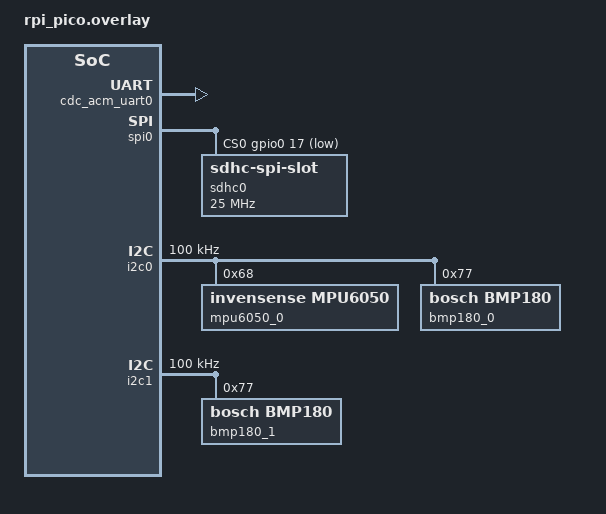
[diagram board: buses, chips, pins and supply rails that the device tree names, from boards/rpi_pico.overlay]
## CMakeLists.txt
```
#-------------------------------------------------------------------------------
# Micrometer prototype
#
# Copyright (c) 2025 Auxspace e.V.
# SPDX-License-Identifier: Apache-2.0

cmake_minimum_required(VERSION 3.20.0)

find_package(Zephyr)
project(micrometer)

target_sources(app PRIVATE 
    src/main.c
    )

# Conditionally include storage.c if CONFIG_STORAGE is enabled
if(CONFIG_STORAGE)
    target_sources(app PRIVATE src/storage.c)
endif()
```

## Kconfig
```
# Copyright (c) 2025 Auxspace e.V.
# SPDX-License-Identifier: Apache-2.0
#
# This file is the application Kconfig entry point. All application Kconfig
# options can be defined here or included via other application Kconfig files.
# You can browse these options using the west targets menuconfig (terminal) or
# guiconfig (GUI).

menu "Zephyr"

source "Kconfig.zephyr"

endmenu

module = MICROMETER
module-str = MICROMETER
source "subsys/logging/Kconfig.template.log_config"

config STORAGE
	bool "Support for storage"
	help
	  This option enables storage driver options

config IMU
	bool "Support for IMU"
	help
	  This option enables functionality for the Inertial Measurement Unit (IMU).

config BARO
	bool "Support for BARO"
	help
	  This option enables functionality for the barometric pressure sensor.

config IMU_HZ
    string "IMU sampling rate (Hz)"
    default "10.0"
	depends on IMU
    help
      Desired IMU sampling rate in Hertz (floating-point allowed).

config USB_SERIAL
	bool "Support for USB serial console"
	help
	  This option enables functionality for a serial console via USB.
```

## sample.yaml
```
sample:
  name: Sensor Board
common:
  tags: filesystem
  modules:
    - fatfs
tests:
  sample.filesystem.fat_fs:
    depends_on: sdhc
    harness: console
    harness_config:
      fixture: fixture_sdhc
      type: multi_line
      regex:
        - "Block count"
        - "Sector size"
        - "Memory Size"
        - "Disk mounted"
  sample.filesystem.fat_fs.rpi_pico:
    build_only: true
    platform_allow: rpi_pico
    extra_args:
      - EXTRA_CONF_FILE=boards/rpi_pico.conf
      - DTC_OVERLAY_FILE=boards/rpi_pico.overlay
  sample.filesystem.fat_fs.rpi_pico2_m33:
    build_only: true
    platform_allow: rpi_pico2/rp2350a/m33
    extra_args:
      - EXTRA_CONF_FILE=boards/rpi_pico2_m33.conf
      - DTC_OVERLAY_FILE=boards/rpi_pico2_m33.overlay
  sample.filesystem.fat_fs.has_sdmmc_disk:
    build_only: true
    filter: dt_compat_enabled("zephyr,sdmmc-disk")
    integration_platforms:
      - rpi_pico2_m33

tests:
  micrometer.default: {}
  micrometer.debug:
    extra_overlay_confs:
      - debug.conf
```

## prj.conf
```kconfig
CONFIG_MAIN_STACK_SIZE=2048
CONFIG_USE_DT_CODE_PARTITION=y
CONFIG_GPIO=y
CONFIG_LOG=y
CONFIG_RESET=y
CONFIG_CONSOLE=y
CONFIG_SENSOR=y
CONFIG_REQUIRES_FLOAT_PRINTF=y
CONFIG_CBPRINTF_FP_SUPPORT=y
```

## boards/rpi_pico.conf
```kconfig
# RPI Pico 2 (RISC-V) Hardware capabilities
CONFIG_SPI=y
CONFIG_DISK_DRIVER_SDMMC=y

CONFIG_CLOCK_CONTROL=y

CONFIG_AURORA_CONSOLE=y
CONFIG_USB_DEVICE_STACK=y
CONFIG_USB_DEVICE_PRODUCT="RPi Pico USB Serial Console"
CONFIG_USB_DEVICE_VID=0x000A
CONFIG_SERIAL=y
CONFIG_USB_SERIAL=y

CONFIG_CONSOLE=y
CONFIG_UART_CONSOLE=y
CONFIG_UART_LINE_CTRL=y

# Auxspace Hardware capabilities
CONFIG_AURORA_SENSORS=y

CONFIG_LSM6DSO_ENABLE_TEMP=y
CONFIG_STMEMSC_I3C_I2C_WRITE_BUFFER_SIZE=32

# Filesystem and Storage
CONFIG_FILE_SYSTEM=y
CONFIG_FILE_SYSTEM_MKFS=y
CONFIG_FAT_FILESYSTEM_ELM=y
CONFIG_MMC_STACK=y
CONFIG_STORAGE=y

# IMU
CONFIG_IMU=y
CONFIG_IMU_HZ="20.0"

# Baro
CONFIG_BARO=y

# State Machine
CONFIG_AURORA_STATE_MACHINE=y

# Build output
CONFIG_BUILD_OUTPUT_UF2=y
CONFIG_BUILD_OUTPUT_HEX=y
```

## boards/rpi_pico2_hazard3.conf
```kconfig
# RPI Pico 2 (RISC-V) Hardware capabilities
CONFIG_SPI=y
CONFIG_DISK_DRIVER_SDMMC=y

CONFIG_CLOCK_CONTROL=y

CONFIG_AURORA_CONSOLE=y
CONFIG_USB_DEVICE_STACK=y
CONFIG_USB_DEVICE_PRODUCT="RPi Pico 2 USB Serial Console"
CONFIG_USB_DEVICE_VID=0x000A
CONFIG_SERIAL=y
CONFIG_USB_SERIAL=y

CONFIG_CONSOLE=y
CONFIG_UART_CONSOLE=y
CONFIG_UART_LINE_CTRL=y

# Auxspace Hardware capabilities
CONFIG_AURORA_SENSORS=y

CONFIG_LSM6DSO_ENABLE_TEMP=y
CONFIG_STMEMSC_I3C_I2C_WRITE_BUFFER_SIZE=32

# Filesystem and Storage
CONFIG_FILE_SYSTEM=y
CONFIG_FILE_SYSTEM_MKFS=y
CONFIG_FAT_FILESYSTEM_ELM=y
CONFIG_MMC_STACK=y
CONFIG_STORAGE=y

# IMU
CONFIG_IMU=y
CONFIG_IMU_HZ="20.0"

# Baro
CONFIG_BARO=y

# State Machine
CONFIG_AURORA_STATE_MACHINE=y

# Build output
CONFIG_BUILD_OUTPUT_UF2=y
CONFIG_BUILD_OUTPUT_HEX=y
```

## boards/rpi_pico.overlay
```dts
/*
 * Copyright (c) 2025 Auxspace e.V.
 * SPDX-License-Identifier: Apache-2.0
 */

/ {

    aliases {
        baro0 = &bmp180_0;
        baro1 = &bmp180_1;

        imu0 = &mpu6050_0;
    };

    chosen {
        zephyr,console = &cdc_acm_uart0;
    };
};

&zephyr_udc0 {
    cdc_acm_uart0: cdc_acm_uart0 {
        compatible = "zephyr,cdc-acm-uart";
        label = "CDC_ACM_0";
    };
};

&pinctrl {
        spi0_default: spi0_default {
                group1 {
                        pinmux = <SPI0_CSN_P17>, <SPI0_SCK_P18>, <SPI0_TX_P19>;
                };
                group2 {
                        pinmux = <SPI0_RX_P16>;
                        input-enable;
                };
        };

        i2c0_default: i2c0_default {
                group1 {
                        pinmux = <I2C0_SDA_P4>, <I2C0_SCL_P5>;
                        input-enable;
                        input-schmitt-enable;
                };
        };
        
        i2c1_default: i2c1_default {
                group1 {
                        pinmux = <I2C1_SDA_P6>, <I2C1_SCL_P7>;
                        input-enable;
                        input-schmitt-enable;
                };
        };
};

&spi0 {
        status = "okay";
        cs-gpios = <&gpio0 17 GPIO_ACTIVE_LOW>;

        sdhc0: sdhc@0 {
                compatible = "zephyr,sdhc-spi-slot";
                reg = <0>;
                status = "okay";
                mmc {
                        compatible = "zephyr,sdmmc-disk";
                        disk-name = "SD";
                        status = "okay";
                };
                spi-max-frequency = <25000000>;
        };
};

&i2c0 {
        status = "okay";
        clock-frequency = <I2C_BITRATE_STANDARD>;

        mpu6050_0: mpu6050@68 {
                compatible = "invensense,mpu6050";
                reg = <0x68>;
                smplrt-div = <249>;
                status = "okay";
        };

        bmp180_0: bmp180@77 {
                compatible = "bosch,bmp180";
                reg = <0x77>;
                osr-press = <2>;
                status = "okay";
        };
};

&i2c1 {
        status = "okay";
        clock-frequency = <I2C_BITRATE_STANDARD>;

        bmp180_1: bmp180@77 {
                compatible = "bosch,bmp180";
                reg = <0x77>;
                osr-press = <2>;
                status = "okay";
        };
};

&gpio0 {
        status = "okay";
};
```

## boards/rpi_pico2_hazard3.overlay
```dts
/*
 * Copyright (c) 2025 Auxspace e.V.
 * SPDX-License-Identifier: Apache-2.0
 */

/ {
	aliases {
		baro0 = &bmp180_0;
		baro1 = &bmp180_1;

		imu0 = &mpu6050_0;
	};

	chosen {
		zephyr,console = &cdc_acm_uart0;
	};
};

&zephyr_udc0 {
	cdc_acm_uart0: cdc_acm_uart0 {
		compatible = "zephyr,cdc-acm-uart";
		label = "CDC_ACM_0";
	};
};

&pinctrl {
	spi0_default: spi0_default {
		group1 {
			pinmux = <SPI0_CSN_P17>, <SPI0_SCK_P18>, <SPI0_TX_P19>;
		};
		group2 {
			pinmux = <SPI0_RX_P16>;
			input-enable;
		};
	};

	i2c0_default: i2c0_default {
		group1 {
			pinmux = <I2C0_SDA_P4>, <I2C0_SCL_P5>;
			input-enable;
			input-schmitt-enable;
		};
	};

	i2c1_default: i2c1_default {
		group1 {
			pinmux = <I2C1_SDA_P6>, <I2C1_SCL_P7>;
			input-enable;
			input-schmitt-enable;
		};
	};
};

&spi0 {
	status = "okay";
	cs-gpios = <&gpio0 17 GPIO_ACTIVE_LOW>;

	sdhc0: sdhc@0 {
		compatible = "zephyr,sdhc-spi-slot";
		reg = <0>;
		status = "okay";
		mmc {
			compatible = "zephyr,sdmmc-disk";
			disk-name = "SD";
			status = "okay";
		};
		spi-max-frequency = <25000000>;
	};
};

&i2c0 {
	status = "okay";
	clock-frequency = <I2C_BITRATE_STANDARD>;

	mpu6050_0: mpu6050@68 {
		compatible = "invensense,mpu6050";
		reg = <0x68>;
		smplrt-div = <249>;
		status = "okay";
	};

	bmp180_0: bmp180@77 {
		compatible = "bosch,bmp180";
		reg = <0x77>;
		osr-press = <2>;
		status = "okay";
	};
};

&i2c1 {
	status = "okay";
	clock-frequency = <I2C_BITRATE_STANDARD>;

	bmp180_1: bmp180@77 {
			compatible = "bosch,bmp180";
			reg = <0x77>;
			osr-press = <2>;
			status = "okay";
	};
};

&gpio0 {
	status = "okay";
};
```

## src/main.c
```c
/*
 * Copyright (c) 2025 Auxspace e.V.
 * SPDX-License-Identifier: Apache-2.0
 */

#include <stdlib.h>
#include <stdio.h>
#include <zephyr/kernel.h>
#include <zephyr/logging/log.h>
#include <zephyr/devicetree.h>
#include <zephyr/device.h>

#include <app_version.h>

#if defined(CONFIG_STORAGE)
#include <ff.h>
#include <zephyr/fs/fs.h>
#include <lib/storage.h>
#endif /* CONFIG_STORAGE */

#if defined(CONFIG_USB_SERIAL)
#include <lib/usb_serial.h>
#endif /* CONFIG_USB_SERIAL */

#if defined(CONFIG_IMU)
#include <lib/imu.h>
#endif /* CONFIG_IMU */

#if defined(CONFIG_BARO)
#include <lib/baro.h>
#endif /* CONFIG_BARO */

#if defined(CONFIG_AURORA_STATE_MACHINE)

#if defined(CONFIG_SIMPLE_STATE)
#include <lib/state/simple.h>

static const struct sm_thresholds state_cfg = (struct sm_thresholds){
	.T_D = 5.0,
	.T_A = 1.5,
	.T_H = 2.0,
	.T_Rd = 100.0,
	.T_Lh = 1.0,
	.T_La = 0.3,
	.T_L = 3,
	.T_R = 2,
	.T_R2 = 5,
};

#else
#error "Unknown state machine type!"
#endif /* CONFIG_SIMPLE_STATE */

#endif /* CONFIG_AURORA_STATE_MACHINE */

LOG_MODULE_REGISTER(main, CONFIG_MICROMETER_LOG_LEVEL);

#if defined(CONFIG_AURORA_SENSORS)

/* ============================================================
 *                     IMU TASK
 * ============================================================ */
#if defined(CONFIG_IMU)

void imu_task(void *, void *, void *)
{
	const struct device *imu0 = DEVICE_DT_GET(DT_ALIAS(imu0));

	imu_init(imu0);

	while (1) {
		int rc = imu_poll(imu0);
		if (rc != 0) {
			LOG_ERR("IMU polling failed (%d)", rc);
			break;
		}

		k_sleep(K_SECONDS(2));
	}

	LOG_INF("IMU task stopped.");
}

/* Create the IMU task (inactive unless CONFIG_IMU=y) */
K_THREAD_DEFINE(imu_task_id, 2048, imu_task, NULL, NULL, NULL,
				5, 0, 0);

#endif /* CONFIG_IMU */

/* ============================================================
 *                     BARO TASK
 * ============================================================ */
#if defined(CONFIG_BARO)

void baro_task(void *, void *, void *)
{
	const struct device *bmp0 = DEVICE_DT_GET(DT_ALIAS(baro0));
	const struct device *bmp1 = DEVICE_DT_GET(DT_ALIAS(baro1));

	if (!device_is_ready(bmp0) || !device_is_ready(bmp1)) {
		LOG_ERR("One of BMP180 sensors not ready!");
		return;
	}

	struct sensor_value temp, press;

	while (1) {

		if (baro_measure(bmp0, &temp, &press)) {
			LOG_ERR("Failed to measure BMP0");
			continue;
		}

		LOG_INF("[BMP0] Temp: %.1f C | Press: %.1f kPa",
				sensor_value_to_double(&temp),
				sensor_value_to_double(&press) / 1000.0);

		if (baro_measure(bmp1, &temp, &press)) {
			LOG_ERR("Failed to measure BMP1");
			continue;
		}

		LOG_INF("[BMP1] Temp: %.1f C | Press: %.1f kPa",
				sensor_value_to_double(&temp),
				sensor_value_to_double(&press) / 1000.0);

		k_sleep(K_SECONDS(1));
	}
}

/* Create the BARO task */
K_THREAD_DEFINE(baro_task_id, 2048, baro_task, NULL, NULL, NULL,
				5, 0, 0);

#endif /* CONFIG_BARO */

#if defined(CONFIG_AURORA_STATE_MACHINE)

static struct sm_inputs read_sensors()
{
	float orientation = 0.0f;
	float acceleration = 0.0f;
	float height = 0.0f;;
	float previous_height = 0.0f;;

	// TODO read baro and IMU
	return (struct sm_inputs){
		orientation,
		acceleration,
		height,
		previous_height,
	};
}

#endif /* CONFIG_AURORA_STATE_MACHINE */

#else  /* CONFIG_AURORA_SENSORS */

#if defined(CONFIG_AURORA_STATE_MACHINE)

static struct sm_inputs read_sensors()
{
	return (struct sm_inputs){0};
}

#endif /* CONFIG_AURORA_STATE_MACHINE */

#endif /* CONFIG_AURORA_SENSORS */

/* ============================================================
 *                     State machine TASK
 * ============================================================ */
#if defined(CONFIG_AURORA_STATE_MACHINE)

void state_machine_task(void *, void *, void *)
{
	sm_init(&state_cfg);

	while (1) {
		struct sm_inputs s = read_sensors();
		sm_update(&s);

		LOG_INF("STATE = %d\n", sm_get_state());

		/* currently 10Hz. Make this better! */
		k_sleep(K_MSEC(100));
	}
}

/* Create the State machine task */
K_THREAD_DEFINE(state_machine_task_id, 2048, state_machine_task, NULL, NULL,
				NULL, 5, 0, 0);

#endif /* CONFIG_AURORA_STATE_MACHINE */

/* ============================================================
 *                     MAIN INITIALIZATION
 * ============================================================ */
int main(void)
{
	int ret;

#if defined(CONFIG_USB_SERIAL)
	ret = init_usb_serial();
	if (ret) {
		LOG_ERR("Could not initialize USB Serial (%d)", ret);
		return 1;
	}
#endif /* CONFIG_USB_SERIAL */

	LOG_INF("Auxspace Micrometer %s", APP_VERSION_STRING);

#if defined(CONFIG_STORAGE)
	/* init storage and create directories/files ... */
	ret = storage_init();
	if (ret) {
		LOG_ERR("Could not initialize storage (%d)", ret);
		return 1;
	}

#endif /* CONFIG_STORAGE */

	LOG_INF("Initialization complete. Starting tasks...");

	/* Threads start automatically via K_THREAD_DEFINE */

	return 0;
}
```

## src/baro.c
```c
/*
 * Copyright (c) 2025, Auxspace e.V.
 *
 * SPDX-License-Identifier: Apache-2.0
 */

#include <stdlib.h>
#include <stdio.h>
#include <zephyr/logging/log.h>

#include <lib/baro.h>

LOG_MODULE_REGISTER(baro, CONFIG_MICROMETER_LOG_LEVEL);

int baro_measure(const struct device *dev, struct sensor_value *temp,
				 struct sensor_value *press)
{
	int ret;

	if (dev == NULL || (temp == NULL && press == NULL))
		return -EINVAL;

	ret = sensor_sample_fetch(dev);
	if (ret) {
		LOG_ERR("Failed to fetch baro sample (%d)\n", ret);
		return ret;
	}

	if (temp) {
		ret = sensor_channel_get(dev, SENSOR_CHAN_AMBIENT_TEMP, temp);
		if (ret) {
			LOG_ERR("Failed to get baro temperature (%d)\n", ret);
			return ret;
		}
	}

	if (press) {
		ret = sensor_channel_get(dev, SENSOR_CHAN_PRESS, press);
		if (ret) {
			LOG_ERR("Failed to get baro pressure (%d)\n", ret);
			return ret;
		}
	}
		
	return 0;
}
```

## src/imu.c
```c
/*
 * Copyright (c) 2025, Auxspace e.V.
 *
 * SPDX-License-Identifier: Apache-2.0
 */

#include <stdlib.h>
#include <stdio.h>
#include <zephyr/kernel.h>
#include <zephyr/device.h>
#include <zephyr/drivers/sensor.h>

static const char *now_str(void)
{
	static char buf[16]; /* ...HH:MM:SS.MMM */
	uint32_t now = k_uptime_get_32();
	unsigned int ms = now % MSEC_PER_SEC;
	unsigned int s;
	unsigned int min;
	unsigned int h;

	now /= MSEC_PER_SEC;
	s = now % 60U;
	now /= 60U;
	min = now % 60U;
	now /= 60U;
	h = now;

	snprintf(buf, sizeof(buf), "%u:%02u:%02u.%03u",
		 h, min, s, ms);
	return buf;
}

void imu_poll(const struct device *dev)
{
	struct sensor_value temperature;
	struct sensor_value accel[3];
	struct sensor_value gyro[3];
	int rc = sensor_sample_fetch(dev);

	if (rc == 0) {
		rc = sensor_channel_get(dev, SENSOR_CHAN_ACCEL_XYZ,
					accel);
	}
	if (rc == 0) {
		rc = sensor_channel_get(dev, SENSOR_CHAN_GYRO_XYZ,
					gyro);
	}
	if (rc == 0) {
		rc = sensor_channel_get(dev, SENSOR_CHAN_DIE_TEMP,
					&temperature);
	}
	if (rc == 0) {
		printf("[%s]:%g Cel\n"
		       "  accel %f %f %f m/s/s\n"
		       "  gyro  %f %f %f rad/s\n",
		       now_str(),
		       sensor_value_to_double(&temperature),
		       sensor_value_to_double(&accel[0]),
		       sensor_value_to_double(&accel[1]),
		       sensor_value_to_double(&accel[2]),
		       sensor_value_to_double(&gyro[0]),
		       sensor_value_to_double(&gyro[1]),
		       sensor_value_to_double(&gyro[2]));
	} else {
		printf("sample fetch/get failed: %d\n", rc);
	}

	return rc;
}

#ifdef CONFIG_MPU6050_TRIGGER
static struct sensor_trigger trigger;

static void handle_mpu6050_drdy(const struct device *dev,
				const struct sensor_trigger *trig)
{
	int rc = process_mpu6050(dev);

	if (rc != 0) {
		printf("cancelling trigger due to failure: %d\n", rc);
		(void)sensor_trigger_set(dev, trig, NULL);
		return;
	}
}
#endif /* CONFIG_MPU6050_TRIGGER */

int imu_init(const struct device *mpu6050)
{
#ifdef CONFIG_MPU6050_TRIGGER
	trigger = (struct sensor_trigger) {
		.type = SENSOR_TRIG_DATA_READY,
		.chan = SENSOR_CHAN_ALL,
	};
	if (sensor_trigger_set(mpu6050, &trigger,
			       handle_mpu6050_drdy) < 0) {
		printf("Cannot configure trigger\n");
		return 0;
	}
	printk("Configured for triggered sampling.\n");
#endif
}
```

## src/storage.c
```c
/*
 * Copyright (c) 2025, Auxspace e.V.
 *
 * SPDX-License-Identifier: Apache-2.0
 */

#include <errno.h>
#include <zephyr/device.h>
#include <zephyr/storage/disk_access.h>
#include <zephyr/fs/fs.h>
#include <zephyr/logging/log.h>

#include <ff.h>

#include <lib/storage.h>

LOG_MODULE_REGISTER(simple_storage, CONFIG_MICROMETER_LOG_LEVEL);

#define FS_RET_OK	FR_OK

static FATFS fat_fs;
/* mounting info */
static struct fs_mount_t mp = {
	.type = FS_FATFS,
	.fs_data = &fat_fs,
};

static const char *disk_mount_pt = DISK_MOUNT_PT;

/* List dir entry by path
 *
 * @param path Absolute path to list
 *
 * @return Negative errno code on error, number of listed entries on
 *         success.
 */
static int lsdir(const char *path)
{
	int res;
	struct fs_dir_t dirp;
	static struct fs_dirent entry;
	int count = 0;

	fs_dir_t_init(&dirp);

	/* Verify fs_opendir() */
	res = fs_opendir(&dirp, path);
	if (res) {
		LOG_ERR("Error opening dir %s [%d]\n", path, res);
		return res;
	}

	LOG_INF("Listing dir %s ...\n", path);
	for (;;) {
		/* Verify fs_readdir() */
		res = fs_readdir(&dirp, &entry);

		/* entry.name[0] == 0 means end-of-dir */
		if (res || entry.name[0] == 0) {
			break;
		}

		if (entry.type == FS_DIR_ENTRY_DIR) {
			LOG_INF("[DIR ] %s\n", entry.name);
		} else {
			LOG_INF("[FILE] %s (size = %zu)\n",
				entry.name, entry.size);
		}
		count++;
	}

	/* Verify fs_closedir() */
	fs_closedir(&dirp);
	if (res == 0) {
		res = count;
	}

	return res;
}

int init_sd()
{
    /* raw disk i/o */
	static const char *disk_pdrv = DISK_DRIVE_NAME;
	uint64_t memory_size_mb;
	uint32_t block_count;
	uint32_t block_size;

	if (disk_access_ioctl(disk_pdrv,
			DISK_IOCTL_CTRL_INIT, NULL) != 0) {
		LOG_ERR("Storage init ERROR!");
		return -EIO;
	}

	if (disk_access_ioctl(disk_pdrv,
			DISK_IOCTL_GET_SECTOR_COUNT, &block_count)) {
		LOG_ERR("Unable to get sector count");
		return -EIO;
	}
	LOG_INF("Block count %u", block_count);

	if (disk_access_ioctl(disk_pdrv,
			DISK_IOCTL_GET_SECTOR_SIZE, &block_size)) {
		LOG_ERR("Unable to get sector size");
		return -EIO;
	}
	LOG_INF("Sector size %u\n", block_size);

	memory_size_mb = (uint64_t)block_count * block_size;
	LOG_INF("Memory Size(MB) %u\n", (uint32_t)(memory_size_mb >> 20));

	mp.mnt_point = disk_mount_pt;

	int res = fs_mount(&mp);

	if (res == FS_RET_OK)
		LOG_INF("Disk mounted.\n");

	int entries = lsdir(disk_mount_pt);
	LOG_INF("%d entries on drive.", entries);

	if (disk_access_ioctl(disk_pdrv,
		DISK_IOCTL_CTRL_DEINIT, NULL) != 0) {
		LOG_ERR("Storage deinit ERROR!");
		return -EIO;
	}

	return entries < 0 ? -EIO : 0;
}

int storage_init()
{
    return init_sd();
}
```

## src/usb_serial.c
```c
#include <zephyr/kernel.h>
#include <zephyr/drivers/uart.h>
#include <zephyr/usb/usb_device.h>
#include <zephyr/sys/printk.h>
#include <zephyr/sys/util.h>

#include <string.h>

#include <lib/usb_serial.h>

LOG_MODULE_REGISTER(usb_serial, CONFIG_MICROMETER_LOG_LEVEL);

/* Check overlay exists for CDC UART console */ 
BUILD_ASSERT(DT_NODE_HAS_COMPAT(DT_CHOSEN(zephyr_console), zephyr_cdc_acm_uart),
	    "Console device is not ACM CDC UART device");

int init_usb_serial() {
    const struct device *usb_device = DEVICE_DT_GET(DT_CHOSEN(zephyr_console));
    uint32_t dtr = 0;

    if (usb_enable(NULL) != 0) {
        return 1;
    }

    while (!dtr) {
        uart_line_ctrl_get(usb_device, UART_LINE_CTRL_DTR, &dtr);
        k_sleep(K_MSEC(100));
    }

    return 0;
}
```
